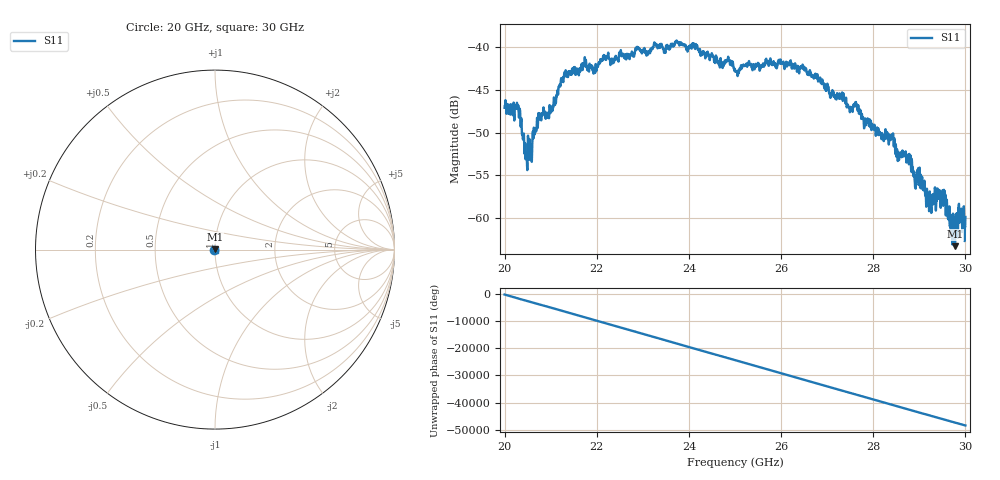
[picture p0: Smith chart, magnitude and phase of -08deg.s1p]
#  HZ  S  RI  R  50.00
! Rohde & Schwarz ZVA40 4Ports - Version 3.90 - 1145.1110k42 SN: 100403
! Date: 2023-10-03 11:31:06
! Measurement: S12
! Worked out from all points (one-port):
!   5001 points, 20 GHz to 30 GHz, reference 50 ohm
!   lowest |S11| = -63.2 dB at 29.77 GHz (marker M1), VSWR 1.00, Z = 50 + j0.0688 ohm
!   |S11| at or under -10 dB: start of sweep to end of sweep
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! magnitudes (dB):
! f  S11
! 20 GHz  -47.1
! 20.29 GHz  -47.3
! 20.45 GHz  -51.4
! 20.51 GHz  -51.1
! 20.74 GHz  -48.3
! 21.01 GHz  -47.6
! 21.25 GHz  -44.0
! 21.72 GHz  -42.1
! 21.95 GHz  -42.7
! 22.12 GHz  -41.6
! 22.5 GHz  -40.8
! 23.75 GHz  -39.5
! 25 GHz  -42.8
! 26.25 GHz  -42.0
! 27.5 GHz  -47.4
! 27.63 GHz  -46.9
! 27.81 GHz  -48.8
! 28.39 GHz  -50.6
! 28.55 GHz  -52.3
! 28.75 GHz  -53.2
! 28.89 GHz  -55.2
! 29.02 GHz  -56.4
! 29.22 GHz  -57.3
! 29.52 GHz  -58.5
! 29.73 GHz  -59.9
! 29.77 GHz  -63.2
! 29.86 GHz  -59.2
! 30 GHz  -59.8
